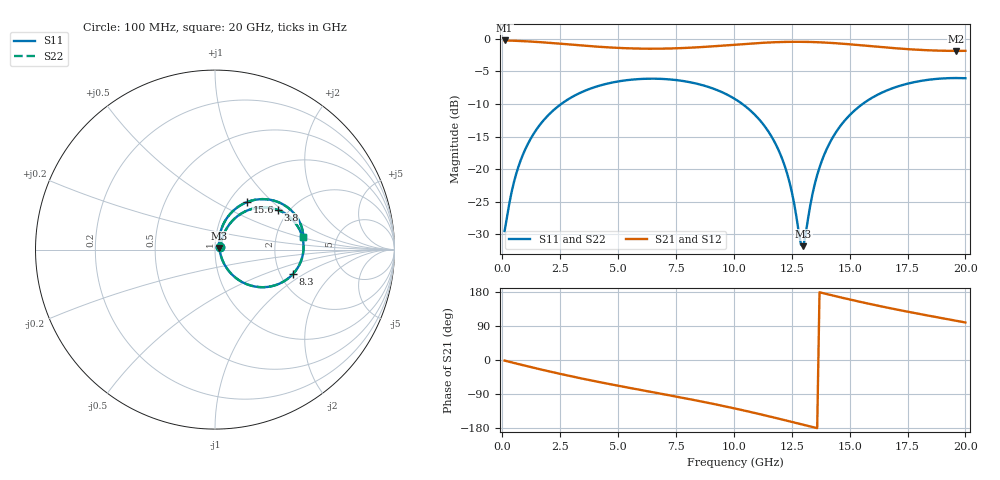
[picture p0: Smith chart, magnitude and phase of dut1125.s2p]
! Touchstone file exported from HFSS 2026.1.0
!  File:  C:/ffzhzh/LocalFiles/Ansys_Project_Files/temp_train_TSV_RDL_1125_1783306768_39728.aedt
!  Generated:  11:09:38 AM Jul  6, 2026
!  Design:  TSV_RDL
!  Project:  temp_train_TSV_RDL_1125_1783306768_39728
! Variables:
!  h_bsmrdl = 4.01um
!  h_ox = 20um
!  h_rdl = 5um
!  h_sub = 89.82um
!  h_tmrdl = 2.76um
!  h_tsv = 89.82um
!  h_via = 3um
!  l_bsmrdl = 532.51um
!  l_sub = 3920.5um
!  l_tmrdl = 461.25um
!  m_sub = 200um
!  pitch = 40.28um
!  r_tsv = 12.95um
!  s_tmrdl = 10um
!  w_bsmrdl = 13.82um
!  w_sub = 500um
!  w_tmrdl = 12.17um
!  x_tsv_center1 = 467.335um
!  x_tsv_center2 = 1013.665um
!  x_tsv_center3 = 1487.085um
!  x_tsv_center4 = 2033.415um
!  x_tsv_center5 = 2506.835um
!  x_tsv_center6 = 3053.165um
# GHz S MA R 50.000000
! Terminal data exported
! Port[1] = TM_RDL1_1_T1
! Port[2] = TM_RDL5_1_T1
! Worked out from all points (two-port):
!   200 points, 100 MHz to 20 GHz, reference 50 ohm
!   highest |S21| = -0.27 dB at 100 MHz (marker M1); lowest = -1.9 dB at 19.6 GHz (marker M2)
!   |S21| within 3 dB of the highest: start of sweep to end of sweep
!   lowest |S11| = -31.8 dB at 13 GHz (marker M3), VSWR 1.05, Z = 52.5 + j0.891 ohm
!   |S11| at or under -10 dB: start of sweep to 2.548 GHz; 10.36 GHz to 15.56 GHz (5.202 GHz wide, 40.1 % of centre)
!   |S22| runs from -31.8 to -6.0 dB; largest |S21 - S12| = 1.7e-14
!   S11 on the Smith chart (normalised r, x): 100 MHz: 1.06, +0.03; 3.8 GHz: 1.76, +0.94; 8.3 GHz: 2.36, -0.80; 15.6 GHz: 1.21, +0.71; 20 GHz: 2.87, +0.52
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0.1  0.03349 25.0  0.9699 -1.6  0.9699 -1.6  0.03349 25.0
! Gamma 0 0 0 0
! Port Impedance 50 0 50 0
0.6  0.0919 59.8  0.9636 -9.3  0.9636 -9.3  0.0919 59.8
1.2  0.1678 60.0  0.9521 -18.2  0.9521 -18.2  0.1678 60.0
2.2  0.2819 50.6  0.9253 -32.5  0.9253 -32.5  0.2819 50.6
3.5  0.3943 35.6  0.8857 -49.7  0.8857 -49.7  0.3943 35.6
3.8  0.414 32.2  0.8772 -53.5  0.8772 -53.5  0.414 32.2
5.3  0.479 15.5  0.8461 -71.4  0.8461 -71.4  0.479 15.5
6.8  0.4926 -0.7  0.8389 -88.5  0.8389 -88.5  0.4926 -0.7
8.3  0.4563 -17.1  0.8567 -105.9  0.8567 -105.9  0.4563 -17.1
10.1  0.3403 -38.0  0.9015 -128.7  0.9015 -128.7  0.3403 -38.0
11.1  0.2398 -49.7  0.9273 -142.6  0.9273 -142.6  0.2398 -49.7
11.9  0.1437 -57.0  0.9419 -154.3  0.9419 -154.3  0.1437 -57.0
12.4  0.07985 -56.1  0.9466 -161.8  0.9466 -161.8  0.07988 -56.0
12.9  0.0263 -9.6  0.9471 -169.3  0.9471 -169.3  0.02641 -9.5
13  0.02563 19.3  0.9466 -170.8  0.9466 -170.8  0.02574 19.3
13.4  0.06482 68.3  0.9432 -176.9  0.9432 -176.9  0.06486 68.2
13.7  0.1029 72.6  0.9389 178.6  0.9389 178.6  0.1029 72.5
14.2  0.1661 70.8  0.9287 171.2  0.9287 171.2  0.1661 70.8
15.6  0.3196 56.0  0.8877 151.5  0.8877 151.5  0.3196 56.0
16.7  0.4072 43.3  0.8532 137.3  0.8532 137.3  0.4072 43.3
19.6  0.4994 12.1  0.8067 103.5  0.8067 103.5  0.4994 12.1
20  0.4976 7.9  0.8076 99.0  0.8076 99.0  0.4976 7.9
